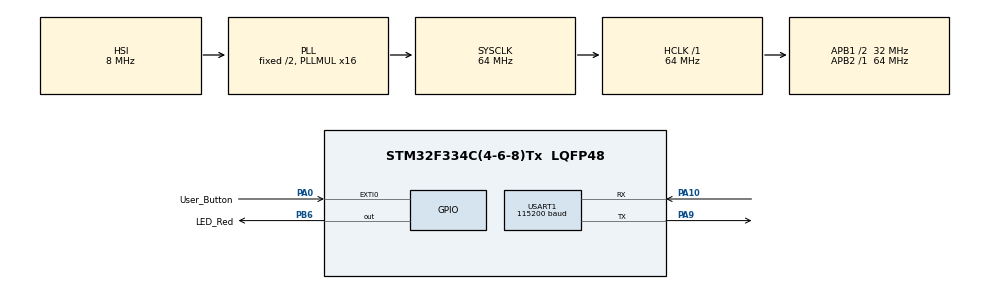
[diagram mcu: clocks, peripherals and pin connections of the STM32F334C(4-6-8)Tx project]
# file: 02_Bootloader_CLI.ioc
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Mcu.Family=STM32F3
Mcu.Name=STM32F334C(4-6-8)Tx
Mcu.Package=LQFP48
NVIC.EXTI0_IRQn=true\:0\:0\:false\:false\:true\:true\:true\:true
NVIC.PriorityGroup=NVIC_PRIORITYGROUP_0
NVIC.USART1_IRQn=true\:0\:0\:false\:false\:true\:true\:true\:true
PA0.GPIO_Label=User_Button
PA0.Signal=GPXTI0
PA10.Mode=Asynchronous
PA10.Signal=USART1_RX
PA9.Mode=Asynchronous
PA9.Signal=USART1_TX
PB6.GPIO_Label=LED_Red
PB6.Signal=GPIO_Output
ProjectManager.HeapSize=0x200
ProjectManager.StackSize=0x400
ProjectManager.TargetToolchain=STM32CubeIDE
RCC.AHBFreq_Value=64000000
RCC.APB1CLKDivider=RCC_HCLK_DIV2
RCC.APB1Freq_Value=32000000
RCC.APB1TimFreq_Value=64000000
RCC.APB2Freq_Value=64000000
RCC.APB2TimFreq_Value=64000000
RCC.CortexFreq_Value=64000000
RCC.HCLKFreq_Value=64000000
RCC.HSE_VALUE=8000000
RCC.HSI_VALUE=8000000
RCC.LSE_VALUE=32768
RCC.PLLMUL=RCC_PLL_MUL16
RCC.SYSCLKFreq_VALUE=64000000
RCC.SYSCLKSourceVirtual=RCC_SYSCLKSOURCE_PLLCLK
USART1.BaudRate=115200
USART1.VirtualMode-Asynchronous=VM_ASYNC
VP_CRC_VS_CRC.Mode=CRC_Activate
board=STM32F3348-DISCO

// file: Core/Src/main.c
/* USER CODE BEGIN Header */
/**
  ******************************************************************************
  * @file           : main.c
  * @brief          : Main program body
  ******************************************************************************
  * @attention
  *
  * Copyright (c) 2023 STMicroelectronics.
  * All rights reserved.
  *
  * This software is licensed under terms that can be found in the LICENSE file
  * in the root directory of this software component.
  * If no LICENSE file comes with this software, it is provided AS-IS.
  *
  ******************************************************************************
  */
/* USER CODE END Header */
#include "main.h"

/* USER CODE BEGIN Includes */
#include <stdint.h>
#include <string.h>
#include <stdarg.h>
#include <stdio.h>
/* USER CODE END Includes */

/* USER CODE BEGIN PM */
#define BL_RX_LEN  100
/* USER CODE END PM */

CRC_HandleTypeDef hcrc;

UART_HandleTypeDef huart1;

/* USER CODE BEGIN PV */
uint8_t Boot = 0;
uint8_t supported_commands[] = {
                               GET_VER ,
                               GET_HELP,
                               GET_CID,
                               GET_RDP_STATUS,
                               GO_TO_ADDR,
                               FLASH_ERASE,
                               MEM_WRITE,
							   READ_SECTOR_PROTECTION_STATUS} ;
char somedata[] = "Hello from Bootloader\r\n";
uint8_t bl_rx_buffer[BL_RX_LEN];
/* USER CODE END PV */

void SystemClock_Config(void);
static void MX_GPIO_Init(void);
static void MX_USART1_UART_Init(void);
static void MX_CRC_Init(void);
/* USER CODE BEGIN PFP */

void Jump_To_App();

static void printmsg(char *format,...);

/* USER CODE END PFP */

/* USER CODE BEGIN 0 */
void flash_testing(void)
{

	uint8_t protection_mode =2 ;
	uint8_t sector_details = 0x80;

	//Flash option control register (OPTCR)
	volatile uint32_t *pOPTCR = (uint32_t*) 0x40023C14;

	  			//Option byte configuration unlock
			HAL_FLASH_OB_Unlock();

			//wait till no active operation on flash
			while(__HAL_FLASH_GET_FLAG(FLASH_FLAG_BSY) != RESET);

			//here wer are setting read and write protection for the sectors
			//set the 31st bit
			//please refer : Flash option control register (FLASH_OPTCR) in RM
			*pOPTCR |= (1 << 31);

			//put write protection on sectors
	    *pOPTCR &= ~(0xff << 16);
			*pOPTCR |= (sector_details << 16);

			//Set the option start bit (OPTSTRT) in the FLASH_OPTCR register
			*pOPTCR |= ( 1 << 1);

			//wait till no active operation on flash
			while(__HAL_FLASH_GET_FLAG(FLASH_FLAG_BSY) != RESET);

			HAL_FLASH_OB_Lock();
}
/* USER CODE END 0 */

int main(void)
{

  /* MCU Configuration--------------------------------------------------------*/

  /* Reset of all peripherals, Initializes the Flash interface and the Systick. */
  HAL_Init();

  /* Configure the system clock */
  SystemClock_Config();

  /* Initialize all configured peripherals */
  MX_GPIO_Init();
  MX_USART1_UART_Init();
  MX_CRC_Init();

  /* Infinite loop */
  /* USER CODE BEGIN WHILE */

	  for(int i=0;i<10;i++)
	  {
		  HAL_GPIO_TogglePin(LED_Red_GPIO_Port, LED_Red_Pin);
		  HAL_Delay(250);
	  }

	  if(Boot == 1)
	  {
		  printmsg("Bootloader: Entering into bootloader Mode\r\n");
		  Read_Host();
	  }
	  else
		  Jump_To_App();

    /* USER CODE END WHILE */

}

void SystemClock_Config(void)
{
  RCC_OscInitTypeDef RCC_OscInitStruct = {0};
  RCC_ClkInitTypeDef RCC_ClkInitStruct = {0};
  RCC_PeriphCLKInitTypeDef PeriphClkInit = {0};

  /** Initializes the RCC Oscillators according to the specified parameters
  * in the RCC_OscInitTypeDef structure.
  */
  RCC_OscInitStruct.OscillatorType = RCC_OSCILLATORTYPE_HSI;
  RCC_OscInitStruct.HSIState = RCC_HSI_ON;
  RCC_OscInitStruct.HSICalibrationValue = RCC_HSICALIBRATION_DEFAULT;
  RCC_OscInitStruct.PLL.PLLState = RCC_PLL_ON;
  RCC_OscInitStruct.PLL.PLLSource = RCC_PLLSOURCE_HSI;
  RCC_OscInitStruct.PLL.PLLMUL = RCC_PLL_MUL16;
  if (HAL_RCC_OscConfig(&RCC_OscInitStruct) != HAL_OK)
  {
    Error_Handler();
  }

  /** Initializes the CPU, AHB and APB buses clocks
  */
  RCC_ClkInitStruct.ClockType = RCC_CLOCKTYPE_HCLK|RCC_CLOCKTYPE_SYSCLK
                              |RCC_CLOCKTYPE_PCLK1|RCC_CLOCKTYPE_PCLK2;
  RCC_ClkInitStruct.SYSCLKSource = RCC_SYSCLKSOURCE_PLLCLK;
  RCC_ClkInitStruct.AHBCLKDivider = RCC_SYSCLK_DIV1;
  RCC_ClkInitStruct.APB1CLKDivider = RCC_HCLK_DIV2;
  RCC_ClkInitStruct.APB2CLKDivider = RCC_HCLK_DIV1;

  if (HAL_RCC_ClockConfig(&RCC_ClkInitStruct, FLASH_LATENCY_2) != HAL_OK)
  {
    Error_Handler();
  }
  PeriphClkInit.PeriphClockSelection = RCC_PERIPHCLK_USART1;
  PeriphClkInit.Usart1ClockSelection = RCC_USART1CLKSOURCE_PCLK1;
  if (HAL_RCCEx_PeriphCLKConfig(&PeriphClkInit) != HAL_OK)
  {
    Error_Handler();
  }
}

static void MX_CRC_Init(void)
{

  hcrc.Instance = CRC;
  hcrc.Init.DefaultPolynomialUse = DEFAULT_POLYNOMIAL_ENABLE;
  hcrc.Init.DefaultInitValueUse = DEFAULT_INIT_VALUE_ENABLE;
  hcrc.Init.InputDataInversionMode = CRC_INPUTDATA_INVERSION_NONE;
  hcrc.Init.OutputDataInversionMode = CRC_OUTPUTDATA_INVERSION_DISABLE;
  hcrc.InputDataFormat = CRC_INPUTDATA_FORMAT_BYTES;
  if (HAL_CRC_Init(&hcrc) != HAL_OK)
  {
    Error_Handler();
  }

}

static void MX_USART1_UART_Init(void)
{

  huart1.Instance = USART1;
  huart1.Init.BaudRate = 115200;
  huart1.Init.WordLength = UART_WORDLENGTH_8B;
  huart1.Init.StopBits = UART_STOPBITS_1;
  huart1.Init.Parity = UART_PARITY_NONE;
  huart1.Init.Mode = UART_MODE_TX_RX;
  huart1.Init.HwFlowCtl = UART_HWCONTROL_NONE;
  huart1.Init.OverSampling = UART_OVERSAMPLING_16;
  huart1.Init.OneBitSampling = UART_ONE_BIT_SAMPLE_DISABLE;
  huart1.AdvancedInit.AdvFeatureInit = UART_ADVFEATURE_NO_INIT;
  if (HAL_UART_Init(&huart1) != HAL_OK)
  {
    Error_Handler();
  }

}

static void MX_GPIO_Init(void)
{
  GPIO_InitTypeDef GPIO_InitStruct = {0};

  /* GPIO Ports Clock Enable */
  __HAL_RCC_GPIOA_CLK_ENABLE();
  __HAL_RCC_GPIOB_CLK_ENABLE();

  /*Configure GPIO pin Output Level */
  HAL_GPIO_WritePin(LED_Red_GPIO_Port, LED_Red_Pin, GPIO_PIN_RESET);

  /*Configure GPIO pin : User_Button_Pin */
  GPIO_InitStruct.Pin = User_Button_Pin;
  GPIO_InitStruct.Mode = GPIO_MODE_IT_RISING;
  GPIO_InitStruct.Pull = GPIO_NOPULL;
  HAL_GPIO_Init(User_Button_GPIO_Port, &GPIO_InitStruct);

  /*Configure GPIO pin : LED_Red_Pin */
  GPIO_InitStruct.Pin = LED_Red_Pin;
  GPIO_InitStruct.Mode = GPIO_MODE_OUTPUT_PP;
  GPIO_InitStruct.Pull = GPIO_NOPULL;
  GPIO_InitStruct.Speed = GPIO_SPEED_FREQ_LOW;
  HAL_GPIO_Init(LED_Red_GPIO_Port, &GPIO_InitStruct);

  /* EXTI interrupt init*/
  HAL_NVIC_SetPriority(EXTI0_IRQn, 0, 0);
  HAL_NVIC_EnableIRQ(EXTI0_IRQn);

}

/* USER CODE BEGIN 4 */

void HAL_GPIO_EXTI_Callback(uint16_t GPIO_Pin)
{
	if(GPIO_Pin == User_Button_Pin)
	{
		Boot = 1;
	}
}

void Jump_To_App()
{
	void (*app_reset_handler)(void);
	uint32_t msp_value = *(volatile uint32_t *) (0x08008000);
	__set_MSP(msp_value);
	uint32_t reset_handler_address = *(volatile uint32_t *) (0x08008000 + 4);
	app_reset_handler = (void*) (reset_handler_address);
	app_reset_handler();

}

void printmsg(char *format,...)
{
	char str[80];

		/*Extract the the argument list using VA apis */
		va_list args;
		va_start(args, format);
		vsprintf(str, format,args);
		HAL_UART_Transmit(&huart1, (uint8_t *)str, strlen(str),HAL_MAX_DELAY);
		va_end(args);
}

void  Read_Host(void)
{
    uint8_t rcv_len=0;

	while(1)
	{
		memset(bl_rx_buffer,0,100);
		//here we will read and decode the commands coming from host
		//first read only one byte from the host , which is the "length" field of the command packet
		HAL_UART_Receive(&huart1,bl_rx_buffer,1,HAL_MAX_DELAY);
		rcv_len= bl_rx_buffer[0];
		HAL_UART_Receive(&huart1,&bl_rx_buffer[1],rcv_len,HAL_MAX_DELAY);
		switch(bl_rx_buffer[1])
		{
            case GET_VER:
            	Get_Version_cmd(bl_rx_buffer);
                break;
            case GET_HELP:
            	Get_Help_cmd(bl_rx_buffer);
                break;
            case GET_CID:
            	Get_Chip_ID_cmd(bl_rx_buffer);
                break;
            case GET_RDP_STATUS:
            	Get_Flash_Read_Protection_Level_cmd(bl_rx_buffer);
                break;
            case GO_TO_ADDR:
                 Go_cmd(bl_rx_buffer);
                break;
            case FLASH_ERASE:
                 flash_erase_cmd(bl_rx_buffer);
                break;
            case MEM_WRITE:
                 mem_write_cmd(bl_rx_buffer);
                break;
            case EN_RW_PROTECT:
                 en_rw_protect(bl_rx_buffer);
                break;
            case MEM_READ:
                 mem_read(bl_rx_buffer);
                break;
            case READ_SECTOR_PROTECTION_STATUS:
                 read_sector_protection_status(bl_rx_buffer);
                break;
            case OTP_READ:
                 read_otp(bl_rx_buffer);
                break;
			case DISABLE_R_W_PROTECT:
                 dis_rw_protect(bl_rx_buffer);
                break;
             default:
                printmsg("Bootloader:Invalid command code received from host \r\n");
                break;

		}

	}

}
void  Get_Version_cmd(uint8_t *bl_rx_buffer)
{
    uint8_t bl_version;

    // 1) verify the checksum
      printmsg("Bootloader: getver_cmd\n");

	 //Total length of the command packet
	  uint32_t command_packet_len = bl_rx_buffer[0]+1 ;

	  //extract the CRC32 sent by the Host
	  uint32_t host_crc = *((uint32_t * ) (bl_rx_buffer+command_packet_len - 4) ) ;

    if (! Check_CRC(&bl_rx_buffer[0],command_packet_len-4,host_crc))
    {
        printmsg("Bootloader:checksum success !!\n");
        // checksum is correct..
        Send_Ack(bl_rx_buffer[0],1);
        bl_version=Get_bootloader_version();
        printmsg("Bootloader:BL_VER : %d %#x\n",bl_version,bl_version);
        bootloader_uart_write_data(&bl_version,1);

    }else
    {
        printmsg("Bootloader:checksum fail !!\n");
        //checksum is wrong send nack
        Send_Nack();
    }

}

/*Helper function to handle BL_GET_HELP command
 * Bootloader sends out All supported Command codes
 */
void  Get_Help_cmd(uint8_t *pBuffer)
{
    printmsg("Bootloader: Get_Help_cmd_cmd\n");

	//Total length of the command packet
	uint32_t command_packet_len = bl_rx_buffer[0]+1 ;

	//extract the CRC32 sent by the Host
	uint32_t host_crc = *((uint32_t * ) (bl_rx_buffer+command_packet_len - 4) ) ;

	if (! Check_CRC(&bl_rx_buffer[0],command_packet_len-4,host_crc))
	{
        printmsg("Bootloader:checksum success !!\n");
        Send_Ack(pBuffer[0],sizeof(supported_commands));
        bootloader_uart_write_data(supported_commands,sizeof(supported_commands) );

	}else
	{
        printmsg("Bootloader:checksum fail !!\n");
        Send_Nack();
	}

}

/*Helper function to handle BL_GET_CID command */
void  Get_Chip_ID_cmd(uint8_t *pBuffer)
{
	uint16_t bl_cid_num = 0;
	printmsg("Bootloader: Get_Chip_ID_cmd\r\n");

    //Total length of the command packet
	uint32_t command_packet_len = bl_rx_buffer[0]+1 ;

	//extract the CRC32 sent by the Host
	uint32_t host_crc = *((uint32_t * ) (bl_rx_buffer+command_packet_len - 4) ) ;

	if (! Check_CRC(&bl_rx_buffer[0],command_packet_len-4,host_crc))
	{
        printmsg("Bootloader:checksum success !!\n");
        Send_Ack(pBuffer[0],2);
        bl_cid_num = Get_MCU_Chip_ID();
        printmsg("Bootloader:MCU id : %d %#x !!\n",bl_cid_num, bl_cid_num);
        bootloader_uart_write_data((uint8_t *)&bl_cid_num,2);

	}else
	{
        printmsg("Bootloader:checksum fail !!\n");
        Send_Nack();
	}

}

/*Helper function to handle BL_GET_RDP_STATUS command */
void  Get_Flash_Read_Protection_Level_cmd(uint8_t *pBuffer)
{
    uint8_t rdp_level = 0x00;
    printmsg("Bootloader: Get_Flash_Read_Protection_Level_cmd\n");

    //Total length of the command packet
	uint32_t command_packet_len = bl_rx_buffer[0]+1 ;

	//extract the CRC32 sent by the Host
	uint32_t host_crc = *((uint32_t * ) (bl_rx_buffer+command_packet_len - 4) ) ;

	if (! Check_CRC(&bl_rx_buffer[0],command_packet_len-4,host_crc))
	{
        printmsg("Bootloader:checksum success !!\n");
        Send_Ack(pBuffer[0],1);
        rdp_level = Get_Flash_RDP_Level();
        printmsg("Bootloader:RDP level: %d %#x\n",rdp_level,rdp_level);
        bootloader_uart_write_data(&rdp_level,1);

	}else
	{
        printmsg("Bootloader:checksum fail !!\n");
        Send_Nack();
	}

}

/*Helper function to handle BL_GO_TO_ADDR command */
void  Go_cmd(uint8_t *pBuffer)
{
    uint32_t go_address=0;
    uint8_t addr_valid = ADDR_VALID;
    uint8_t addr_invalid = ADDR_INVALID;

    printmsg("Bootloader: Go_cmd\n");

    //Total length of the command packet
	uint32_t command_packet_len = bl_rx_buffer[0]+1 ;

	//extract the CRC32 sent by the Host
	uint32_t host_crc = *((uint32_t * ) (bl_rx_buffer+command_packet_len - 4) ) ;

	if (! Check_CRC(&bl_rx_buffer[0],command_packet_len-4,host_crc))
	{
        printmsg("Bootloader:checksum success !!\n");

        Send_Ack(pBuffer[0],1);

        //extract the go address
        go_address = *((uint32_t *)&pBuffer[2] );
        printmsg("Bootloader:GO addr: %#x\n",go_address);

        if( Verify_Address(go_address) == ADDR_VALID )
        {
            //tell host that address is fine
            bootloader_uart_write_data(&addr_valid,1);

            /*jump to "go" address.
            we dont care what is being done there.
            host must ensure that valid code is present over there
            Its not the duty of bootloader. so just trust and jump */

            /* Not doing the below line will result in hardfault exception for ARM cortex M */
            //watch : https://www.youtube.com/watch?v=VX_12SjnNhY

            go_address+=1; //make T bit =1

            void (*lets_jump)(void) = (void *)go_address;

            printmsg("Bootloader: jumping to go address! \n");

            lets_jump();

		}else
		{
            printmsg("Bootloader:GO addr invalid ! \n");
            //tell host that address is invalid
            bootloader_uart_write_data(&addr_invalid,1);
		}

	}else
	{
        printmsg("Bootloader:checksum fail !!\n");
        Send_Nack();
	}

}

/*Helper function to handle BL_FLASH_ERASE command */
void  flash_erase_cmd(uint8_t *pBuffer)
{
    uint8_t erase_status = 0x00;
    printmsg("Bootloader: flash_erase_cmd\n");

    //Total length of the command packet
	uint32_t command_packet_len = bl_rx_buffer[0]+1 ;

	//extract the CRC32 sent by the Host
	uint32_t host_crc = *((uint32_t * ) (bl_rx_buffer+command_packet_len - 4) ) ;

	if (! Check_CRC(&bl_rx_buffer[0],command_packet_len-4,host_crc))
	{
        printmsg("Bootloader:checksum success !!\n");
        Send_Ack(pBuffer[0],1);
        printmsg("Bootloader:initial_sector : %d  no_ofsectors: %d\n",pBuffer[2],pBuffer[3]);

        HAL_GPIO_TogglePin(LED_Red_GPIO_Port,LED_Red_Pin);
        erase_status = Execute_Flash_Erase(pBuffer[2] , pBuffer[3]);
        HAL_GPIO_TogglePin(LED_Red_GPIO_Port,LED_Red_Pin);

        printmsg("Bootloader: flash erase status: %#x\n",erase_status);

        bootloader_uart_write_data(&erase_status,1);

	}else
	{
        printmsg("Bootloader:checksum fail !!\n");
        Send_Nack();
	}
}

/*Helper function to handle BL_MEM_WRITE command */
void  mem_write_cmd(uint8_t *pBuffer)
{
	uint8_t addr_valid = ADDR_VALID;
	uint8_t write_status = 0x00;
	uint8_t chksum =0, len=0;
	len = pBuffer[0];
	uint8_t payload_len = pBuffer[6];

	uint32_t mem_address = *((uint32_t *) ( &pBuffer[2]) );

	chksum = pBuffer[len];

    printmsg("Bootloader: mem_write_cmd\n");

    //Total length of the command packet
	uint32_t command_packet_len = bl_rx_buffer[0]+1 ;

	//extract the CRC32 sent by the Host
	uint32_t host_crc = *((uint32_t * ) (bl_rx_buffer+command_packet_len - 4) ) ;

	if (! Check_CRC(&bl_rx_buffer[0],command_packet_len-4,host_crc))
	{
        printmsg("Bootloader:checksum success !!\n");

        Send_Ack(pBuffer[0],1);

        printmsg("Bootloader: mem write address : %#x\n",mem_address);

		if( Verify_Address(mem_address) == ADDR_VALID )
		{

            printmsg("Bootloader: valid mem write address\n");

            //glow the led to indicate bootloader is currently writing to memory
            HAL_GPIO_TogglePin(LED_Red_GPIO_Port,LED_Red_Pin);

            //execute mem write
            write_status = Execute_Mem_Write(&pBuffer[7],mem_address, payload_len);

            //turn off the led to indicate memory write is over
            HAL_GPIO_TogglePin(LED_Red_GPIO_Port,LED_Red_Pin);

            //inform host about the status
            bootloader_uart_write_data(&write_status,1);

		}else
		{
            printmsg("Bootloader: invalid mem write address\n");
            write_status = ADDR_INVALID;
            //inform host that address is invalid
            bootloader_uart_write_data(&write_status,1);
		}

	}else
	{
        printmsg("Bootloader:checksum fail !!\n");
        Send_Nack();
	}

}

/*Helper function to handle BL_EN_RW_PROTECT  command */
void  en_rw_protect(uint8_t *pBuffer)
{
    uint8_t status = 0x00;
    printmsg("Bootloader: endis_rw_protect\n");

    //Total length of the command packet
	uint32_t command_packet_len = bl_rx_buffer[0]+1 ;

	//extract the CRC32 sent by the Host
	uint32_t host_crc = *((uint32_t * ) (bl_rx_buffer+command_packet_len - 4) ) ;

	if (! Check_CRC(&bl_rx_buffer[0],command_packet_len-4,host_crc))
	{
        printmsg("Bootloader:checksum success !!\n");
        Send_Ack(pBuffer[0],1);

        status = Set_Flash_Sector_RW_Protection(pBuffer[2] , pBuffer[3],0);

        printmsg("Bootloader: flash erase status: %#x\n",status);

        bootloader_uart_write_data(&status,1);

	}else
	{
        printmsg("Bootloader:checksum fail !!\n");
        Send_Nack();
	}

}

/*Helper function to handle BL_EN_RW_PROTECT  command */
void  dis_rw_protect(uint8_t *pBuffer)
{
    uint8_t status = 0x00;
    printmsg("Bootloader: dis_rw_protect\n");

    //Total length of the command packet
	uint32_t command_packet_len = bl_rx_buffer[0]+1 ;

	//extract the CRC32 sent by the Host
	uint32_t host_crc = *((uint32_t * ) (bl_rx_buffer+command_packet_len - 4) ) ;

	if (! Check_CRC(&bl_rx_buffer[0],command_packet_len-4,host_crc))
	{
        printmsg("Bootloader:checksum success !!\n");
        Send_Ack(pBuffer[0],1);

        status = Set_Flash_Sector_RW_Protection(0,0,1);

        printmsg("Bootloader: flash erase status: %#x\n",status);

        bootloader_uart_write_data(&status,1);

	}else
	{
        printmsg("Bootloader:checksum fail !!\n");
        Send_Nack();
	}

}

/*Helper function to handle BL_MEM_READ command */
void  mem_read (uint8_t *pBuffer)
{

}

/*Helper function to handle READ_SECTOR_PROTECTION_STATUS command */
void  read_sector_protection_status(uint8_t *pBuffer)
{
	 uint16_t status;
	printmsg("Bootloader: read_sector_protection_status\n");

    //Total length of the command packet
	uint32_t command_packet_len = bl_rx_buffer[0]+1 ;

	//extract the CRC32 sent by the Host
	uint32_t host_crc = *((uint32_t * ) (bl_rx_buffer+command_packet_len - 4) ) ;

	if (! Check_CRC(&bl_rx_buffer[0],command_packet_len-4,host_crc))
	{
        printmsg("Bootloader:checksum success !!\n");
        Send_Ack(pBuffer[0],2);
        status=Read_OB_RW_Protection_Status();
        printmsg("Bootloader: nWRP status: %#x\n",status);
        bootloader_uart_write_data((uint8_t*)&status,2);

	}else
	{
        printmsg("Bootloader:checksum fail !!\n");
        Send_Nack();
	}

}

/*Helper function to handle BL_OTP_READ command */
void  read_otp(uint8_t *pBuffer)
{

}

/*This function sends ACK if CRC matches along with "len to follow"*/
void Send_Ack(uint8_t command_code, uint8_t follow_len)
{
	 //here we send 2 byte.. first byte is ack and the second byte is len value
	uint8_t ack_buf[2];
	ack_buf[0] = ACK;
	ack_buf[1] = follow_len;
	HAL_UART_Transmit(&huart1,ack_buf,2,HAL_MAX_DELAY);

}

/*This function sends NACK */
void Send_Nack(void)
{
	uint8_t nack = NACK;
	HAL_UART_Transmit(&huart1,&nack,1,HAL_MAX_DELAY);
}

//This verifies the CRC of the given buffer in pData .
uint8_t Check_CRC (uint8_t *pData, uint32_t len, uint32_t crc_host)
{
    uint32_t uwCRCValue=0xff;

    for (uint32_t i=0 ; i < len ; i++)
	{
        uint32_t i_data = pData[i];
        uwCRCValue = HAL_CRC_Accumulate(&hcrc, &i_data, 1);
	}

	 /* Reset CRC Calculation Unit */
  __HAL_CRC_DR_RESET(&hcrc);

	if( uwCRCValue == crc_host)
	{
		return CRC_SUCCESS;
	}

	return CRC_FAIL;
}

/* This function writes data in to C_UART */
void bootloader_uart_write_data(uint8_t *pBuffer,uint32_t len)
{
    /*you can replace the below ST's USART driver API call with your MCUs driver API call */
	HAL_UART_Transmit(&huart1,pBuffer,len,HAL_MAX_DELAY);

}

//Just returns the macro value .
uint8_t Get_bootloader_version(void)
{
  return (uint8_t)BL_VERSION;
}

//Read the chip identifier or device Identifier
uint16_t Get_MCU_Chip_ID(void)
{
/*
	The STM32F446xx MCUs integrate an MCU ID code. This ID identifies the ST MCU partnumber
	and the die revision. It is part of the DBG_MCU component and is mapped on the
	external PPB bus (see Section 33.16 on page 1304). This code is accessible using the
	JTAG debug pCat.2ort (4 to 5 pins) or the SW debug port (two pins) or by the user software.
	It is even accessible while the MCU is under system reset. */
	uint16_t cid;
	cid = (uint16_t)(DBGMCU->IDCODE) & 0x0FFF;
	return  cid;

}

/*This function reads the RDP ( Read protection option byte) value
 *For more info refer "Table 9. Description of the option bytes" in stm32f446xx RM
 */
uint8_t Get_Flash_RDP_Level(void)
{

	uint8_t rdp_status=0;
#if 0
	FLASH_OBProgramInitTypeDef  ob_handle;
	HAL_FLASHEx_OBGetConfig(&ob_handle);
	rdp_status = (uint8_t)ob_handle.RDPLevel;
#else

	 volatile uint32_t *pOB_addr = (uint32_t*) 0x1FFFC000;
	 rdp_status =  (uint8_t)(*pOB_addr >> 8) ;
#endif

	return rdp_status;

}

//verify the address sent by the host .
uint8_t Verify_Address(uint32_t go_address)
{
	//so, what are the valid addresses to which we can jump ?
	//can we jump to system memory ? yes
	//can we jump to sram1 memory ?  yes
	//can we jump to sram2 memory ? yes
	//can we jump to backup sram memory ? yes
	//can we jump to peripheral memory ? its possible , but dont allow. so no
	//can we jump to external memory ? yes.

//incomplete -poorly written .. optimize it
	if ( go_address >= CCRAM_BASE && go_address <= CCRAM_END)
	{
		return ADDR_VALID;
	}
	else if ( go_address >= RAM_BASE && go_address <= RAM_END)
	{
		return ADDR_VALID;
	}
	else if ( go_address >= FLASH_BASE && go_address <= FLASH_END)
	{
		return ADDR_VALID;
	}
	else
		return ADDR_INVALID;
	return ADDR_INVALID;
}

 uint8_t Execute_Flash_Erase(uint8_t sector_number , uint8_t number_of_sector)
{

    //we have totally 8 sectors in STM32F446RE mcu .. sector[0 to 7]
	//number_of_sector has to be in the range of 0 to 7
	// if sector_number = 0xff , that means mass erase !
	//Code needs to modified if your MCU supports more flash sectors

	//FLASH_EraseInitTypeDef flashErase_handle;
	//uint32_t sectorError;
	//HAL_StatusTypeDef status;

	//if( number_of_sector > 8 )
	//	return INVALID_SECTOR;

//	if( (sector_number == 0xff ) || (sector_number <= 7) )
//	{
//		if(sector_number == (uint8_t) 0xff)
//		{
//			flashErase_handle.TypeErase = FLASH_TYPEERASE_MASSERASE;
//		}else
//		{
		    /*Here we are just calculating how many sectors needs to erased */
//			uint8_t remanining_sector = 8 - sector_number;
//            if( number_of_sector > remanining_sector)
//            {
//            	number_of_sector = remanining_sector;
//            }
//			flashErase_handle.TypeErase = TYPEERASE_SECTORS;
//			flashErase_handle.PageAddress = sector_number; // this is the initial sector
//			flashErase_handle.NbPages = number_of_sector;
//		}
//		flashErase_handle.Banks = FLASH_BANK_1;
//
//		/*Get access to touch the flash registers */
//		HAL_FLASH_Unlock();
//		flashErase_handle.VoltageRange = FLASH_VOLTAGE_RANGE_3;  // our mcu will work on this voltage range
//		status = (uint8_t) HAL_FLASHEx_Erase(&flashErase_handle, &sectorError);
//		HAL_FLASH_Lock();
//
//		return status;
//	}
//
//
	printmsg("Bootloader: Under Development Phase\r\n");
	return INVALID_SECTOR;
}

/*This function writes the contents of pBuffer to  "mem_address" byte by byte */
//Note1 : Currently this function supports writing to Flash only .
//Note2 : This functions does not check whether "mem_address" is a valid address of the flash range.
uint8_t Execute_Mem_Write(uint8_t *pBuffer, uint32_t mem_address, uint32_t len)
{
    uint8_t status=HAL_OK;

    //We have to unlock flash module to get control of registers
    HAL_FLASH_Unlock();

    for(uint32_t i = 0 ; i <len ; i++)
    {
        //Here we program the flash byte by byte
        status = HAL_FLASH_Program(FLASH_TYPEPROGRAM_WORD,mem_address+i,pBuffer[i] );
    }

    HAL_FLASH_Lock();

    return status;
}

/*
Modifying user option bytes
To modify the user option value, follow the sequence below:
1. Check that no Flash memory operation is ongoing by checking the BSY bit in the
FLASH_SR register
2. Write the desired option value in the FLASH_OPTCR register.
3. Set the option start bit (OPTSTRT) in the FLASH_OPTCR register
4. Wait for the BSY bit to be cleared.
*/
uint8_t Set_Flash_Sector_RW_Protection(uint8_t sector_details, uint8_t protection_mode, uint8_t disable)
{
    //First configure the protection mode
    //protection_mode =1 , means write protect of the user flash sectors
    //protection_mode =2, means read/write protect of the user flash sectors
    //According to RM of stm32f446xx TABLE 9, We have to modify the address 0x1FFF C008 bit 15(SPRMOD)

	 //Flash option control register (OPTCR)
    volatile uint32_t *pOPTCR = (uint32_t*) 0x40023C14;

	  if(disable)
		{

			//disable all r/w protection on sectors

			//Option byte configuration unlock
			HAL_FLASH_OB_Unlock();

			//wait till no active operation on flash
			while(__HAL_FLASH_GET_FLAG(FLASH_FLAG_BSY) != RESET);

			//clear the 31st bit (default state)
			//please refer : Flash option control register (FLASH_OPTCR) in RM
			*pOPTCR &= ~(1 << 31);

			//clear the protection : make all bits belonging to sectors as 1
			*pOPTCR |= (0xFF << 16);

			//Set the option start bit (OPTSTRT) in the FLASH_OPTCR register
			*pOPTCR |= ( 1 << 1);

			//wait till no active operation on flash
			while(__HAL_FLASH_GET_FLAG(FLASH_FLAG_BSY) != RESET);

			HAL_FLASH_OB_Lock();

			return 0;

		}

	   if(protection_mode == (uint8_t) 1)
    {
           //we are putting write protection on the sectors encoded in sector_details argument

			//Option byte configuration unlock
			HAL_FLASH_OB_Unlock();

			//wait till no active operation on flash
			while(__HAL_FLASH_GET_FLAG(FLASH_FLAG_BSY) != RESET);

			//here we are setting just write protection for the sectors
			//clear the 31st bit
			//please refer : Flash option control register (FLASH_OPTCR) in RM
			*pOPTCR &= ~(1 << 31);

			//put write protection on sectors
			*pOPTCR &= ~ (sector_details << 16);

			//Set the option start bit (OPTSTRT) in the FLASH_OPTCR register
			*pOPTCR |= ( 1 << 1);

			//wait till no active operation on flash
			while(__HAL_FLASH_GET_FLAG(FLASH_FLAG_BSY) != RESET);

			HAL_FLASH_OB_Lock();
		}

		else if (protection_mode == (uint8_t) 2)
    {
	  	//Option byte configuration unlock
			HAL_FLASH_OB_Unlock();

			//wait till no active operation on flash
			while(__HAL_FLASH_GET_FLAG(FLASH_FLAG_BSY) != RESET);

			//here wer are setting read and write protection for the sectors
			//set the 31st bit
			//please refer : Flash option control register (FLASH_OPTCR) in RM
			*pOPTCR |= (1 << 31);

			//put read and write protection on sectors
            *pOPTCR &= ~(0xff << 16);
			*pOPTCR |= (sector_details << 16);

			//Set the option start bit (OPTSTRT) in the FLASH_OPTCR register
			*pOPTCR |= ( 1 << 1);

			//wait till no active operation on flash
			while(__HAL_FLASH_GET_FLAG(FLASH_FLAG_BSY) != RESET);

			HAL_FLASH_OB_Lock();
    }

		return 0;
}

uint16_t Read_OB_RW_Protection_Status(void)
{
    //This structure is given by ST Flash driver to hold the OB(Option Byte) contents .
	FLASH_OBProgramInitTypeDef OBInit;

	//First unlock the OB(Option Byte) memory access
	HAL_FLASH_OB_Unlock();
	//get the OB configuration details
	HAL_FLASHEx_OBGetConfig(&OBInit);
	//Lock back .
	HAL_FLASH_Lock();

	//We are just interested in r/w protection status of the sectors.
	return (uint16_t)OBInit.WRPPage;

}

/* USER CODE END 4 */

void Error_Handler(void)
{
  __disable_irq();
  while (1)
  {
  }
}
